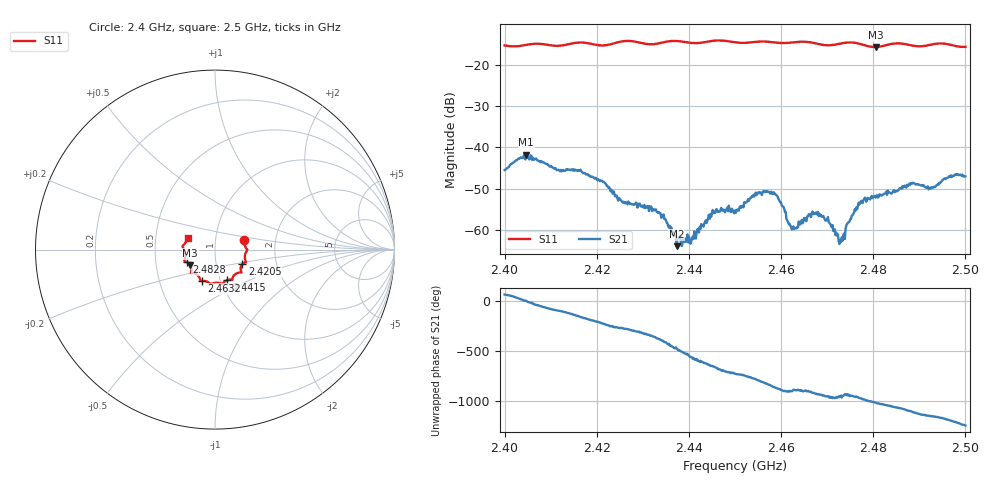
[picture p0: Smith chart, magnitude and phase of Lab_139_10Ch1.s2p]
# Hz S RI R 50
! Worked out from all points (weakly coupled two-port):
!   601 points, 2.4 GHz to 2.5 GHz, reference 50 ohm
!   highest |S21| = -41.81 dB at 2.4047 GHz (marker M1); lowest = -63.9 dB at 2.4373 GHz (marker M2)
!   lowest |S11| = -15.7 dB at 2.4805 GHz (marker M3), VSWR 1.39, Z = 37.3 - j6.7 ohm
!   |S11| at or under -10 dB: start of sweep to end of sweep
!   S12 and S22 are empty: the file has one direction only
!   S11 on the Smith chart (normalised r, x): 2.4 GHz: 1.38, +0.15; 2.4205 GHz: 1.34, -0.22; 2.4415 GHz: 1.07, -0.38; 2.4632 GHz: 0.82, -0.29; 2.4828 GHz: 0.72, -0.10; 2.5 GHz: 0.73, +0.10
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2.4e9  0.1638 0.052  0.00222 0.00481  0 0  0 0
2.404667e9  0.1743 0.00575  0.00812 0.000319  0 0  0 0
2.416667e9  0.1728 -0.0701  -0.00485 -0.00161  0 0  0 0
2.4205e9  0.152 -0.0815  -0.00336 0.00224  0 0  0 0
2.425667e9  0.1472 -0.1248  8.8e-05 0.00214  0 0  0 0
2.433333e9  0.1001 -0.1514  0.00152 -0.000513  0 0  0 0
2.437333e9  0.0956 -0.1693  -0.0003 -0.00056  0 0  0 0
2.4415e9  0.0658 -0.1708  -0.000568 0.000542  0 0  0 0
2.4455e9  0.042 -0.1916  0.000891 0.00139  0 0  0 0
2.45e9  0.0241 -0.1861  0.00169 -0.000305  0 0  0 0
2.454833e9  -0.0158 -0.1898  0.000802 -0.00269  0 0  0 0
2.458e9  -0.0314 -0.1857  -0.00189 -0.00205  0 0  0 0
2.462e9  -0.0649 -0.174  -0.00112 5.7e-05  0 0  0 0
2.463167e9  -0.0732 -0.1738  -0.00105 -2.95e-05  0 0  0 0
2.466667e9  -0.0821 -0.1671  -0.0015 0.000547  0 0  0 0
2.469667e9  -0.0962 -0.1436  -0.000709 0.00108  0 0  0 0
2.473e9  -0.1264 -0.13  -0.000462 0.000541  0 0  0 0
2.476833e9  -0.1322 -0.1238  -0.000679 0.00203  0 0  0 0
2.4805e9  -0.1388 -0.0874  0.0012 0.00215  0 0  0 0
2.482833e9  -0.1587 -0.07  0.00242 0.0016  0 0  0 0
2.483333e9  -0.1625 -0.0681  0.00249 0.00141  0 0  0 0
2.5e9  -0.1527 0.0641  -0.00438 -0.00077  0 0  0 0
